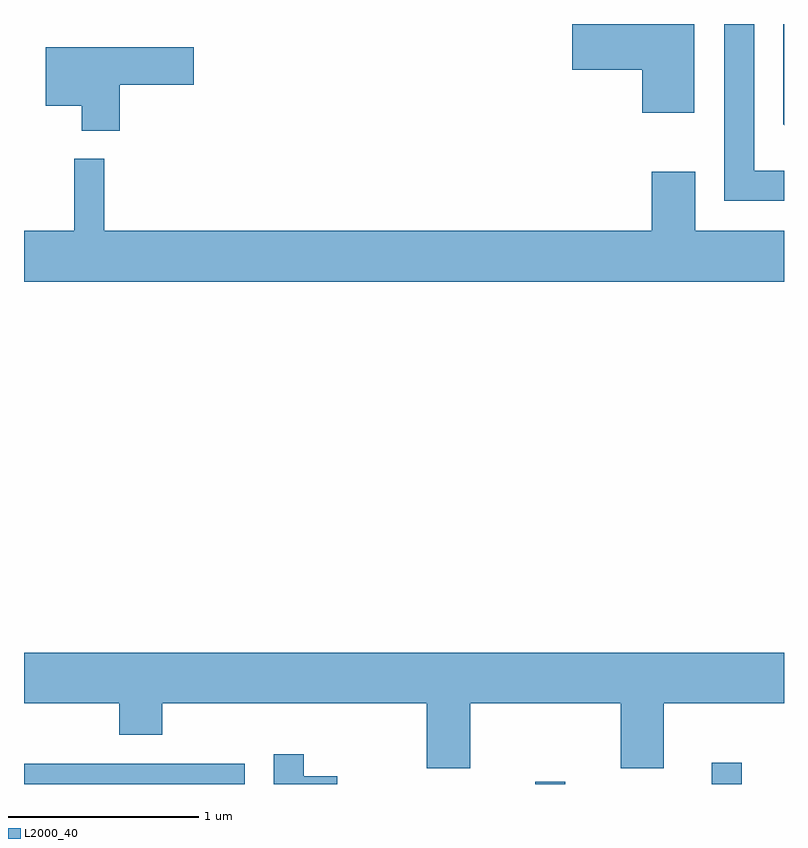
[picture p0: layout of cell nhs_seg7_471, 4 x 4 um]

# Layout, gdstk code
import gdstk
lib = gdstk.Library(unit=1e-6, precision=1e-09)
def R(c, l, rs):  # rectangles x0, y0, x1, y1
    for r in rs: c.add(gdstk.rectangle(r[:2], r[2:], *l))
def P(c, l, *ps):  # polygons
    for p in ps: c.add(gdstk.Polygon(p, *l))
L2000_40 = (2000, 40)

nhs_seg7_471 = lib.new_cell('nhs_seg7_471')
R(nhs_seg7_471, L2000_40, [(197.611,1798.252,198.774,1798.359), (200.301,1798.252,200.459,1798.263), (201.231,1798.252,201.389,1798.363)])
P(nhs_seg7_471, L2000_40, [(201.611,1802.252),(201.606,1802.252),(201.606,1801.724),(201.611,1801.719)],
  [(201.139,1802.252),(200.496,1802.252),(200.496,1802.011),(200.866,1802.011),(200.866,1801.786),(201.139,1801.786)],
  [(201.611,1801.479),(201.454,1801.479),(201.454,1802.252),(201.296,1802.252),(201.296,1801.321),(201.611,1801.321)],
  [(198.114,1801.931),(198.504,1801.931),(198.504,1802.129),(197.726,1802.129),(197.726,1801.821),(197.916,1801.821),(197.916,1801.691),(198.114,1801.691)],
  [(201.611,1801.164),(201.144,1801.164),(201.144,1801.474),(200.916,1801.474),(200.916,1801.164),(198.034,1801.164),(198.034,1801.543),(197.876,1801.543),(197.876,1801.164),(197.611,1801.164),(197.611,1800.896),(201.611,1800.896)],
  [(199.959,1798.676),(200.751,1798.676),(200.751,1798.336),(200.979,1798.336),(200.979,1798.676),(201.611,1798.676),(201.611,1798.944),(197.611,1798.944),(197.611,1798.676),(198.111,1798.676),(198.111,1798.511),(198.339,1798.511),(198.339,1798.676),(199.731,1798.676),(199.731,1798.336),(199.959,1798.336)],
  [(199.259,1798.294),(199.084,1798.294),(199.084,1798.408),(198.926,1798.408),(198.926,1798.252),(199.259,1798.252)])

lib.write_gds('nhs_seg7_471.gds')
